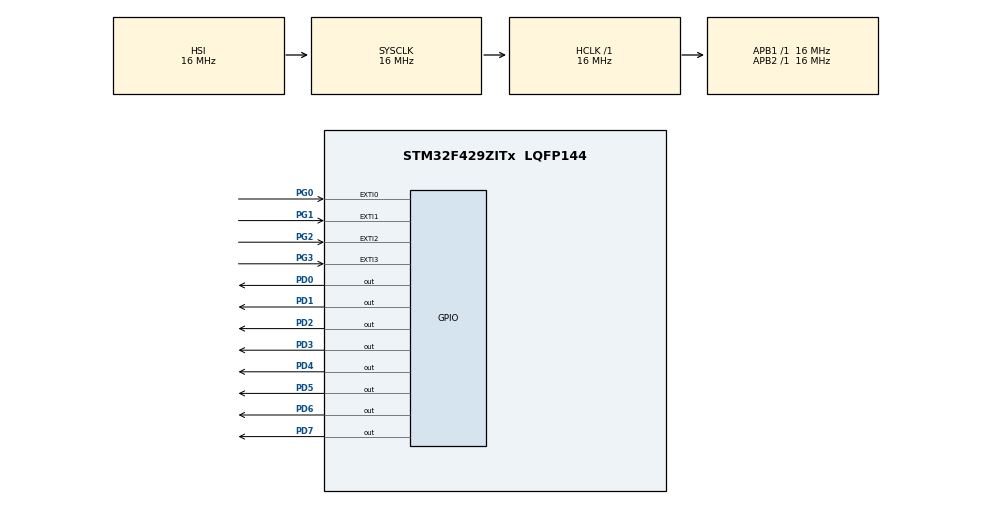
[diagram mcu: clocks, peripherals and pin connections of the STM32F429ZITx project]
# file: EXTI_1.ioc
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Mcu.Family=STM32F4
Mcu.Name=STM32F429ZITx
Mcu.Package=LQFP144
NVIC.EXTI0_IRQn=true\:0\:0\:false\:false\:true\:true\:true\:true
NVIC.EXTI1_IRQn=true\:0\:0\:false\:false\:true\:true\:true\:true
NVIC.EXTI2_IRQn=true\:0\:0\:false\:false\:true\:true\:true\:true
NVIC.EXTI3_IRQn=true\:0\:0\:false\:false\:true\:true\:true\:true
NVIC.PriorityGroup=NVIC_PRIORITYGROUP_4
PA13.Mode=Serial_Wire
PA13.Signal=SYS_JTMS-SWDIO
PA14.Mode=Serial_Wire
PA14.Signal=SYS_JTCK-SWCLK
PD0.GPIO_ModeDefaultOutputPP=GPIO_MODE_OUTPUT_PP
PD0.GPIO_PuPd=GPIO_PULLUP
PD0.GPIO_Speed=GPIO_SPEED_FREQ_HIGH
PD0.PinState=GPIO_PIN_RESET
PD0.Signal=GPIO_Output
PD1.GPIO_ModeDefaultOutputPP=GPIO_MODE_OUTPUT_PP
PD1.GPIO_PuPd=GPIO_PULLUP
PD1.GPIO_Speed=GPIO_SPEED_FREQ_HIGH
PD1.PinState=GPIO_PIN_RESET
PD1.Signal=GPIO_Output
PD2.GPIO_ModeDefaultOutputPP=GPIO_MODE_OUTPUT_PP
PD2.GPIO_PuPd=GPIO_PULLUP
PD2.GPIO_Speed=GPIO_SPEED_FREQ_HIGH
PD2.PinState=GPIO_PIN_RESET
PD2.Signal=GPIO_Output
PD3.GPIO_ModeDefaultOutputPP=GPIO_MODE_OUTPUT_PP
PD3.GPIO_PuPd=GPIO_PULLUP
PD3.GPIO_Speed=GPIO_SPEED_FREQ_HIGH
PD3.PinState=GPIO_PIN_RESET
PD3.Signal=GPIO_Output
PD4.GPIO_ModeDefaultOutputPP=GPIO_MODE_OUTPUT_PP
PD4.GPIO_PuPd=GPIO_PULLUP
PD4.GPIO_Speed=GPIO_SPEED_FREQ_HIGH
PD4.PinState=GPIO_PIN_RESET
PD4.Signal=GPIO_Output
PD5.GPIO_ModeDefaultOutputPP=GPIO_MODE_OUTPUT_PP
PD5.GPIO_PuPd=GPIO_PULLUP
PD5.GPIO_Speed=GPIO_SPEED_FREQ_HIGH
PD5.PinState=GPIO_PIN_RESET
PD5.Signal=GPIO_Output
PD6.GPIO_ModeDefaultOutputPP=GPIO_MODE_OUTPUT_PP
PD6.GPIO_PuPd=GPIO_PULLUP
PD6.GPIO_Speed=GPIO_SPEED_FREQ_HIGH
PD6.PinState=GPIO_PIN_RESET
PD6.Signal=GPIO_Output
PD7.GPIO_ModeDefaultOutputPP=GPIO_MODE_OUTPUT_PP
PD7.GPIO_PuPd=GPIO_PULLUP
PD7.GPIO_Speed=GPIO_SPEED_FREQ_HIGH
PD7.PinState=GPIO_PIN_RESET
PD7.Signal=GPIO_Output
PG0.GPIO_ModeDefaultEXTI=GPIO_MODE_IT_FALLING
PG0.GPIO_PuPd=GPIO_NOPULL
PG0.Signal=GPXTI0
PG1.GPIO_ModeDefaultEXTI=GPIO_MODE_IT_FALLING
PG1.GPIO_PuPd=GPIO_NOPULL
PG1.Signal=GPXTI1
PG2.GPIO_ModeDefaultEXTI=GPIO_MODE_IT_FALLING
PG2.GPIO_PuPd=GPIO_NOPULL
PG2.Signal=GPXTI2
PG3.GPIO_ModeDefaultEXTI=GPIO_MODE_IT_FALLING
PG3.GPIO_PuPd=GPIO_NOPULL
PG3.Signal=GPXTI3
ProjectManager.HeapSize=0x200
ProjectManager.StackSize=0x400
ProjectManager.TargetToolchain=STM32CubeIDE
RCC.AHBFreq_Value=16000000
RCC.APB1Freq_Value=16000000
RCC.APB2Freq_Value=16000000
RCC.CortexFreq_Value=16000000
RCC.HSE_VALUE=25000000
RCC.HSI_VALUE=16000000
RCC.LSE_VALUE=32768
RCC.SYSCLKFreq_VALUE=16000000
RCC.VCOOutputFreq_Value=192000000
board=custom

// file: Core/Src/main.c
/* USER CODE BEGIN Header */
/**
  ******************************************************************************
  * @file           : main.c
  * @brief          : Main program body
  ******************************************************************************
  * @attention
  *
  * Copyright (c) 2022 STMicroelectronics.
  * All rights reserved.
  *
  * This software is licensed under terms that can be found in the LICENSE file
  * in the root directory of this software component.
  * If no LICENSE file comes with this software, it is provided AS-IS.
  *
  ******************************************************************************
  */
/* USER CODE END Header */
#include "main.h"

/* USER CODE BEGIN PV */
int flag_SW1 = 0, flag_SW2 = 0;
/* USER CODE END PV */

void SystemClock_Config(void);
static void MX_GPIO_Init(void);
/* USER CODE BEGIN PFP */
void LED_OnOff(int,int);
/* USER CODE END PFP */

int main(void)
{
  /* USER CODE BEGIN 1 */
	uint16_t led = 0x01;
  /* USER CODE END 1 */

  /* MCU Configuration--------------------------------------------------------*/

  /* Reset of all peripherals, Initializes the Flash interface and the Systick. */
  HAL_Init();

  /* Configure the system clock */
  SystemClock_Config();

  /* Initialize all configured peripherals */
  MX_GPIO_Init();
  /* USER CODE BEGIN 2 */
  LED_OnOff(LED_ALL, 500);
  /* USER CODE END 2 */

  /* Infinite loop */
  /* USER CODE BEGIN WHILE */
  while (1)
  {
	  if ( flag_SW1 == 1) {
		  led <<= 1;
		  if (led > 0x80) led = 0x01;
		  LED_OnOff(led,100);
	  }
	  else if (flag_SW2 == 1){
		  led >>= 1;
		  if (led < 0x01) led = 0x80;
		  LED_OnOff(led,100);
	  }
    /* USER CODE END WHILE */

  }
}

void SystemClock_Config(void)
{
  RCC_OscInitTypeDef RCC_OscInitStruct = {0};
  RCC_ClkInitTypeDef RCC_ClkInitStruct = {0};

  /** Configure the main internal regulator output voltage
  */
  __HAL_RCC_PWR_CLK_ENABLE();
  __HAL_PWR_VOLTAGESCALING_CONFIG(PWR_REGULATOR_VOLTAGE_SCALE3);

  /** Initializes the RCC Oscillators according to the specified parameters
  * in the RCC_OscInitTypeDef structure.
  */
  RCC_OscInitStruct.OscillatorType = RCC_OSCILLATORTYPE_HSI;
  RCC_OscInitStruct.HSIState = RCC_HSI_ON;
  RCC_OscInitStruct.HSICalibrationValue = RCC_HSICALIBRATION_DEFAULT;
  RCC_OscInitStruct.PLL.PLLState = RCC_PLL_NONE;
  if (HAL_RCC_OscConfig(&RCC_OscInitStruct) != HAL_OK)
  {
    Error_Handler();
  }

  /** Initializes the CPU, AHB and APB buses clocks
  */
  RCC_ClkInitStruct.ClockType = RCC_CLOCKTYPE_HCLK|RCC_CLOCKTYPE_SYSCLK
                              |RCC_CLOCKTYPE_PCLK1|RCC_CLOCKTYPE_PCLK2;
  RCC_ClkInitStruct.SYSCLKSource = RCC_SYSCLKSOURCE_HSI;
  RCC_ClkInitStruct.AHBCLKDivider = RCC_SYSCLK_DIV1;
  RCC_ClkInitStruct.APB1CLKDivider = RCC_HCLK_DIV1;
  RCC_ClkInitStruct.APB2CLKDivider = RCC_HCLK_DIV1;

  if (HAL_RCC_ClockConfig(&RCC_ClkInitStruct, FLASH_LATENCY_0) != HAL_OK)
  {
    Error_Handler();
  }
}

static void MX_GPIO_Init(void)
{
  GPIO_InitTypeDef GPIO_InitStruct = {0};

  /* GPIO Ports Clock Enable */
  __HAL_RCC_GPIOG_CLK_ENABLE();
  __HAL_RCC_GPIOA_CLK_ENABLE();
  __HAL_RCC_GPIOD_CLK_ENABLE();

  /*Configure GPIO pin Output Level */
  HAL_GPIO_WritePin(GPIOD, GPIO_PIN_0|GPIO_PIN_1|GPIO_PIN_2|GPIO_PIN_3
                          |GPIO_PIN_4|GPIO_PIN_5|GPIO_PIN_6|GPIO_PIN_7, GPIO_PIN_RESET);

  /*Configure GPIO pins : PG0 PG1 PG2 PG3 */
  GPIO_InitStruct.Pin = GPIO_PIN_0|GPIO_PIN_1|GPIO_PIN_2|GPIO_PIN_3;
  GPIO_InitStruct.Mode = GPIO_MODE_IT_FALLING;
  GPIO_InitStruct.Pull = GPIO_NOPULL;
  HAL_GPIO_Init(GPIOG, &GPIO_InitStruct);

  /*Configure GPIO pins : PD0 PD1 PD2 PD3
                           PD4 PD5 PD6 PD7 */
  GPIO_InitStruct.Pin = GPIO_PIN_0|GPIO_PIN_1|GPIO_PIN_2|GPIO_PIN_3
                          |GPIO_PIN_4|GPIO_PIN_5|GPIO_PIN_6|GPIO_PIN_7;
  GPIO_InitStruct.Mode = GPIO_MODE_OUTPUT_PP;
  GPIO_InitStruct.Pull = GPIO_PULLUP;
  GPIO_InitStruct.Speed = GPIO_SPEED_FREQ_HIGH;
  HAL_GPIO_Init(GPIOD, &GPIO_InitStruct);

  /* EXTI interrupt init*/
  HAL_NVIC_SetPriority(EXTI0_IRQn, 0, 0);
  HAL_NVIC_EnableIRQ(EXTI0_IRQn);

  HAL_NVIC_SetPriority(EXTI1_IRQn, 0, 0);
  HAL_NVIC_EnableIRQ(EXTI1_IRQn);

  HAL_NVIC_SetPriority(EXTI2_IRQn, 0, 0);
  HAL_NVIC_EnableIRQ(EXTI2_IRQn);

  HAL_NVIC_SetPriority(EXTI3_IRQn, 0, 0);
  HAL_NVIC_EnableIRQ(EXTI3_IRQn);

}

/* USER CODE BEGIN 4 */
void LED_OnOff(int led, int interval){
	HAL_GPIO_WritePin(GPIO_LED, led, GPIO_PIN_SET);
	HAL_GPIO_WritePin(GPIO_LED_Nucleo, led, GPIO_PIN_SET);

	HAL_Delay(interval);
	HAL_GPIO_WritePin(GPIO_LED, led, GPIO_PIN_RESET);
	HAL_GPIO_WritePin(GPIO_LED_Nucleo, led, GPIO_PIN_RESET);
}
void HAL_GPIO_EXTI_Callback(uint16_t GPIO_PIN){
	if (GPIO_PIN == SW1) {
		flag_SW1 = 1;
		flag_SW2 = 0;
	}
	else if (GPIO_PIN == SW2){
		flag_SW1 = 0;
		flag_SW2 = 1;
	}
}
/* USER CODE END 4 */

void Error_Handler(void)
{
  __disable_irq();
  while (1)
  {
  }
}
